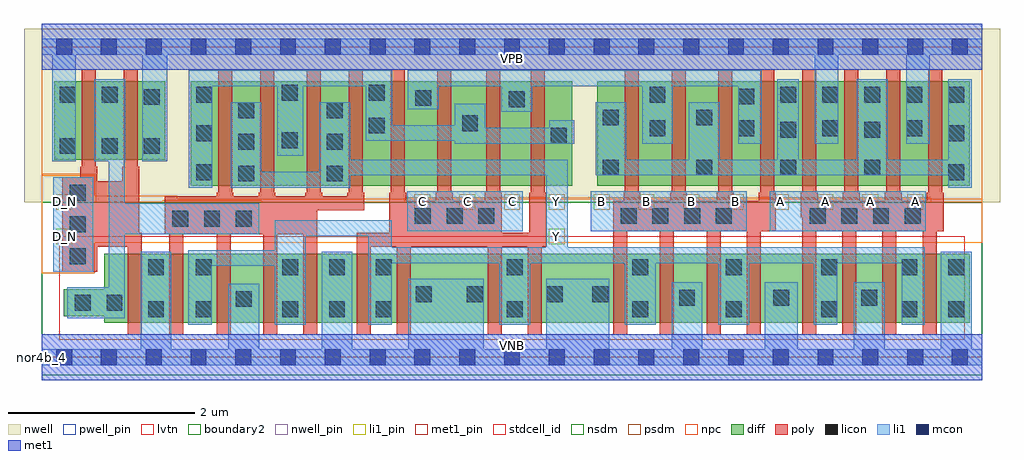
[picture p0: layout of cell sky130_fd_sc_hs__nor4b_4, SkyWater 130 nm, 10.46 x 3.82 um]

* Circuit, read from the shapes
.subckt sky130_fd_sc_hs__nor4b_4 A B C D_N VGND VNB VPB VPWR Y
XM1 VGND D_N n1 VNB sky130_fd_pr__nfet_01v8_lvt w=0.74 l=0.15
XM2 Y n1 VGND VNB sky130_fd_pr__nfet_01v8_lvt w=0.74 l=0.15 m=4
XM3 Y C VGND VNB sky130_fd_pr__nfet_01v8_lvt w=0.74 l=0.15 m=4
XM4 Y B VGND VNB sky130_fd_pr__nfet_01v8_lvt w=0.74 l=0.15 m=4
XM5 Y A VGND VNB sky130_fd_pr__nfet_01v8_lvt w=0.74 l=0.15 m=4
XM6 n1 D_N VPWR VPB sky130_fd_pr__pfet_01v8 w=0.84 l=0.15 m=2
XM7 Y n1 n2 VPB sky130_fd_pr__pfet_01v8 w=1.12 l=0.15 m=4
XM8 n3 C n2 VPB sky130_fd_pr__pfet_01v8 w=1.12 l=0.15 m=4
XM9 n3 B n4 VPB sky130_fd_pr__pfet_01v8 w=1.12 l=0.15 m=4
XM10 VPWR A n4 VPB sky130_fd_pr__pfet_01v8 w=1.12 l=0.15 m=4
.ends

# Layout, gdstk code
import gdstk
lib = gdstk.Library(unit=1e-6, precision=1e-09)
def R(c, l, rs):  # rectangles x0, y0, x1, y1
    for r in rs: c.add(gdstk.rectangle(r[:2], r[2:], *l))
def A(c, l, x, y, w, h, nx, ny, dx, dy):  # array of equal rectangles
    R(c, l, [(x+i*dx, y+j*dy, x+i*dx+w, y+j*dy+h) for i in range(nx) for j in range(ny)])
def P(c, l, *ps):  # polygons
    for p in ps: c.add(gdstk.Polygon(p, *l))
nwell_pin = (64, 16)
nwell = (64, 20)
diff = (65, 20)
poly = (66, 20)
licon = (66, 44)
li1_pin = (67, 16)
li1 = (67, 20)
mcon = (67, 44)
met1_pin = (68, 16)
met1 = (68, 20)
stdcell_id = (81, 4)
nsdm = (93, 44)
psdm = (94, 20)
npc = (95, 20)
pwell_pin = (122, 16)
lvtn = (125, 44)
boundary2 = (236, 0)

sky130_fd_sc_hs__nor4b_4 = lib.new_cell('sky130_fd_sc_hs__nor4b_4')
R(sky130_fd_sc_hs__nor4b_4, nwell_pin, [(0,3.085,10.08,3.33)])
R(sky130_fd_sc_hs__nor4b_4, nwell, [(-0.19,1.66,10.27,3.52)])
R(sky130_fd_sc_hs__nor4b_4, diff, [(1.595,1.84,5.685,2.96), (5.955,1.84,9.945,2.96), (0.135,2.12,1.325,2.96)])
P(sky130_fd_sc_hs__nor4b_4, diff, [(9.945,1.11),(0.67,1.11),(0.67,0.73),(0.235,0.73),(0.235,0.44),(0.67,0.44),(0.67,0.37),(9.945,0.37)])
P(sky130_fd_sc_hs__nor4b_4, poly, [(1.07,1.335),(1.045,1.335),(1.045,2.045),(1.03,2.045),(1.03,3.09),(0.88,3.09),(0.88,2.045),(0.865,2.045),(0.865,1.885),(0.595,1.885),(0.595,2.045),(0.58,2.045),(0.58,3.09),(0.43,3.09),(0.43,2.045),(0.415,2.045),(0.415,1.93),(0.22,1.93),(0.22,0.92),(0.595,0.92),(0.595,1.185),(0.92,1.185),(0.92,0.24),(1.07,0.24)],
  [(3.455,1.765),(3.44,1.765),(3.44,3.09),(3.29,3.09),(3.29,1.765),(3.275,1.765),(3.275,1.725),(3.005,1.725),(3.005,1.765),(2.99,1.765),(2.99,3.09),(2.84,3.09),(2.84,1.765),(2.825,1.765),(2.825,1.725),(2.505,1.725),(2.505,1.765),(2.49,1.765),(2.49,3.09),(2.34,3.09),(2.34,1.765),(2.325,1.765),(2.325,1.725),(2.055,1.725),(2.055,1.765),(2.04,1.765),(2.04,3.09),(1.89,3.09),(1.89,1.765),(1.875,1.765),(1.875,1.725),(1.32,1.725),(1.32,1.32),(1.365,1.32),(1.365,0.24),(1.515,0.24),(1.515,1.32),(1.875,1.32),(1.875,0.24),(2.025,0.24),(2.025,1.32),(2.375,1.32),(2.375,0.24),(2.525,0.24),(2.525,1.32),(2.805,1.32),(2.805,0.24),(2.955,0.24),(2.955,1.575),(3.455,1.575)],
  [(5.405,1.765),(5.39,1.765),(5.39,3.09),(5.24,3.09),(5.24,1.765),(5.225,1.765),(5.225,1.335),(4.93,1.335),(4.93,1.765),(4.915,1.765),(4.915,3.09),(4.765,3.09),(4.765,1.765),(4.75,1.765),(4.75,1.68),(4.405,1.68),(4.405,1.765),(4.39,1.765),(4.39,3.09),(4.24,3.09),(4.24,1.765),(4.225,1.765),(4.225,1.68),(3.905,1.68),(3.905,1.765),(3.89,1.765),(3.89,3.09),(3.74,3.09),(3.74,1.765),(3.725,1.765),(3.725,1.335),(3.375,1.335),(3.375,0.24),(3.525,0.24),(3.525,1.185),(3.805,1.185),(3.805,0.24),(3.955,0.24),(3.955,1.185),(4.78,1.185),(4.78,0.24),(4.93,0.24),(4.93,1.185),(5.21,1.185),(5.21,0.24),(5.36,0.24),(5.36,1.185),(5.405,1.185)],
  [(7.865,1.765),(7.85,1.765),(7.85,3.09),(7.7,3.09),(7.7,1.765),(7.685,1.765),(7.685,1.68),(7.415,1.68),(7.415,1.765),(7.4,1.765),(7.4,3.09),(7.25,3.09),(7.25,1.765),(7.235,1.765),(7.235,1.68),(6.915,1.68),(6.915,1.765),(6.9,1.765),(6.9,3.09),(6.75,3.09),(6.75,1.765),(6.735,1.765),(6.735,1.68),(6.415,1.68),(6.415,1.765),(6.4,1.765),(6.4,3.09),(6.25,3.09),(6.25,1.765),(6.235,1.765),(6.235,1.68),(6.125,1.68),(6.125,0.24),(6.275,0.24),(6.275,1.35),(6.625,1.35),(6.625,0.24),(6.775,0.24),(6.775,1.35),(7.125,1.35),(7.125,0.24),(7.275,0.24),(7.275,1.35),(7.555,1.35),(7.555,0.24),(7.705,0.24),(7.705,1.35),(7.865,1.35)],
  [(9.665,1.765),(9.65,1.765),(9.65,3.09),(9.5,3.09),(9.5,1.765),(9.485,1.765),(9.485,1.68),(9.215,1.68),(9.215,1.765),(9.2,1.765),(9.2,3.09),(9.05,3.09),(9.05,1.765),(9.035,1.765),(9.035,1.68),(8.765,1.68),(8.765,1.765),(8.75,1.765),(8.75,3.09),(8.6,3.09),(8.6,1.765),(8.585,1.765),(8.585,1.68),(8.315,1.68),(8.315,1.765),(8.3,1.765),(8.3,3.09),(8.15,3.09),(8.15,1.765),(8.135,1.765),(8.135,1.5),(8.15,1.5),(8.15,0.24),(8.3,0.24),(8.3,1.35),(8.58,1.35),(8.58,0.24),(8.73,0.24),(8.73,1.35),(9.01,1.35),(9.01,0.24),(9.16,0.24),(9.16,1.35),(9.44,1.35),(9.44,0.24),(9.59,0.24),(9.59,1.35),(9.665,1.35)])
A(sky130_fd_sc_hs__nor4b_4, licon, 2.58, 0.43, 0.17, 0.17, 3, 2, 0.5, 0.45)
A(sky130_fd_sc_hs__nor4b_4, licon, 0.3, 1, 0.17, 0.17, 1, 3, 0, 0.34)
A(sky130_fd_sc_hs__nor4b_4, licon, 1.4, 1.4, 0.17, 0.17, 3, 1, 0.34, 0)
A(sky130_fd_sc_hs__nor4b_4, licon, 4, 1.43, 0.17, 0.17, 3, 1, 0.34, 0)
A(sky130_fd_sc_hs__nor4b_4, licon, 6.205, 1.43, 0.17, 0.17, 4, 1, 0.34, 0)
A(sky130_fd_sc_hs__nor4b_4, licon, 8.23, 1.43, 0.17, 0.17, 4, 1, 0.34, 0)
A(sky130_fd_sc_hs__nor4b_4, licon, 2.105, 1.885, 0.17, 0.17, 1, 3, 0, 0.34)
A(sky130_fd_sc_hs__nor4b_4, licon, 3.055, 1.885, 0.17, 0.17, 1, 3, 0, 0.34)
A(sky130_fd_sc_hs__nor4b_4, licon, 1.655, 1.9, 0.17, 0.17, 1, 3, 0, 0.415)
A(sky130_fd_sc_hs__nor4b_4, licon, 7.015, 1.95, 0.17, 0.17, 3, 1, 0.9, 0)
A(sky130_fd_sc_hs__nor4b_4, licon, 0.195, 2.18, 0.17, 0.17, 3, 1, 0.45, 0)
A(sky130_fd_sc_hs__nor4b_4, licon, 7.465, 2.37, 0.17, 0.17, 3, 1, 0.9, 0)
A(sky130_fd_sc_hs__nor4b_4, licon, 7.915, 2.73, 0.17, 0.17, 5, 1, 0.45, 0)
R(sky130_fd_sc_hs__nor4b_4, licon, [(1.14,0.43,1.31,0.6), (1.65,0.43,1.82,0.6), (4.985,0.43,5.155,0.6), (6.33,0.43,6.5,0.6), (7.33,0.43,7.5,0.6), (8.355,0.43,8.525,0.6), (9.215,0.43,9.385,0.6), (9.715,0.43,9.885,0.6), (0.355,0.5,0.525,0.67), (0.695,0.5,0.865,0.67), (2.08,0.54,2.25,0.71), (6.83,0.555,7,0.725), (7.84,0.555,8.01,0.725), (8.785,0.555,8.955,0.725), (4.01,0.59,4.18,0.76), (4.555,0.59,4.725,0.76), (5.415,0.59,5.585,0.76), (5.9,0.59,6.07,0.76), (1.14,0.88,1.31,1.05), (1.65,0.88,1.82,1.05), (4.985,0.88,5.155,1.05), (6.33,0.88,6.5,1.05), (7.33,0.88,7.5,1.05), (8.355,0.88,8.525,1.05), (9.215,0.88,9.385,1.05), (9.715,0.88,9.885,1.05), (9.715,1.9,9.885,2.07), (6.015,1.95,6.185,2.12), (2.575,2.24,2.745,2.41), (5.455,2.29,5.625,2.46), (9.715,2.315,9.885,2.485), (7.915,2.355,8.085,2.525), (8.815,2.355,8.985,2.525), (6.515,2.37,6.685,2.54), (3.505,2.4,3.675,2.57), (4.505,2.425,4.675,2.595), (6.015,2.485,6.185,2.655), (7.015,2.485,7.185,2.655), (5.005,2.68,5.175,2.85), (4.005,2.695,4.175,2.865), (1.095,2.705,1.265,2.875), (7.465,2.71,7.635,2.88), (0.195,2.73,0.365,2.9), (0.645,2.73,0.815,2.9), (6.515,2.73,6.685,2.9), (2.575,2.75,2.745,2.92), (3.505,2.75,3.675,2.92)])
A(sky130_fd_sc_hs__nor4b_4, li1_pin, 3.995, 1.58, 0.17, 0.17, 12, 1, 0.48, 0)
R(sky130_fd_sc_hs__nor4b_4, li1_pin, [(0.155,1.21,0.325,1.38), (5.435,1.21,5.605,1.38), (0.155,1.58,0.325,1.75)])
R(sky130_fd_sc_hs__nor4b_4, li1, [(0.125,0.92,0.55,1.93), (3.92,1.35,5.155,1.78), (5.885,1.35,7.555,1.78), (7.805,1.35,9.475,1.78)])
P(sky130_fd_sc_hs__nor4b_4, li1, [(2.33,1.65),(0.89,1.65),(0.89,2.1),(0.895,2.1),(0.895,2.98),(0.565,2.98),(0.565,2.1),(0.72,2.1),(0.72,0.75),(0.275,0.75),(0.275,0.42),(0.89,0.42),(0.89,1.32),(2.33,1.32)],
  [(5.705,2.54),(5.44,2.54),(5.44,2.46),(4.755,2.46),(4.755,2.72),(4.425,2.72),(4.425,2.49),(3.755,2.49),(3.755,3.075),(1.575,3.075),(1.575,1.82),(1.825,1.82),(1.825,2.905),(2.525,2.905),(2.525,2.16),(2.805,2.16),(2.805,2.905),(3.475,2.905),(3.475,2.32),(4.425,2.32),(4.425,2.29),(5.705,2.29)],
  [(9.465,1.18),(5.635,1.18),(5.635,2.12),(3.305,2.12),(3.305,2.735),(2.975,2.735),(2.975,1.99),(2.355,1.99),(2.355,2.735),(2.025,2.735),(2.025,1.82),(3.305,1.82),(3.305,1.95),(5.405,1.95),(5.405,1.18),(3.75,1.18),(3.75,1.47),(2.5,1.47),(2.5,1.15),(1.57,1.15),(1.57,0.35),(1.82,0.35),(1.82,0.98),(2.5,0.98),(2.5,0.35),(2.83,0.35),(2.83,1.3),(3.5,1.3),(3.5,0.35),(3.75,0.35),(3.75,1.01),(4.905,1.01),(4.905,0.35),(5.235,0.35),(5.235,1.01),(6.25,1.01),(6.25,0.35),(6.58,0.35),(6.58,1.01),(7.25,1.01),(7.25,0.35),(7.58,0.35),(7.58,1.01),(8.275,1.01),(8.275,0.35),(8.525,0.35),(8.525,1.01),(9.215,1.01),(9.215,0.35),(9.465,0.35)],
  [(7.715,3.075),(3.925,3.075),(3.925,2.66),(4.255,2.66),(4.255,2.905),(4.925,2.905),(4.925,2.63),(5.255,2.63),(5.255,2.905),(6.435,2.905),(6.435,2.29),(6.765,2.29),(6.765,2.905),(7.465,2.905),(7.465,2.29),(7.715,2.29)],
  [(10.08,0.085),(9.965,0.085),(9.965,1.13),(9.635,1.13),(9.635,0.085),(9.035,0.085),(9.035,0.805),(8.705,0.805),(8.705,0.085),(8.105,0.085),(8.105,0.805),(7.75,0.805),(7.75,0.085),(7.08,0.085),(7.08,0.805),(6.75,0.805),(6.75,0.085),(6.08,0.085),(6.08,0.84),(5.405,0.84),(5.405,0.085),(4.735,0.085),(4.735,0.84),(3.93,0.84),(3.93,0.085),(3.33,0.085),(3.33,1.13),(3,1.13),(3,0.085),(2.33,0.085),(2.33,0.79),(2,0.79),(2,0.085),(1.39,0.085),(1.39,1.13),(1.06,1.13),(1.06,0.085),(0,0.085),(0,-0.085),(10.08,-0.085)],
  [(9.965,2.98),(9.715,2.98),(9.715,2.12),(9.065,2.12),(9.065,2.98),(8.735,2.98),(8.735,2.12),(8.115,2.12),(8.115,2.98),(7.885,2.98),(7.885,2.12),(7.265,2.12),(7.265,2.735),(6.935,2.735),(6.935,2.12),(6.265,2.12),(6.265,2.735),(5.935,2.735),(5.935,1.95),(9.715,1.95),(9.715,1.82),(9.965,1.82)],
  [(10.08,3.415),(0,3.415),(0,3.245),(0.115,3.245),(0.115,2.1),(0.365,2.1),(0.365,3.245),(1.075,3.245),(1.075,2.1),(1.345,2.1),(1.345,3.245),(8.285,3.245),(8.285,2.29),(8.535,2.29),(8.535,3.245),(9.265,3.245),(9.265,2.29),(9.515,2.29),(9.515,3.245),(10.08,3.245)])
A(sky130_fd_sc_hs__nor4b_4, mcon, 0.155, -0.085, 0.17, 0.17, 21, 2, 0.48, 3.33)
R(sky130_fd_sc_hs__nor4b_4, met1_pin, [(0,0,10.08,0.245), (0,3.085,10.08,3.33)])
R(sky130_fd_sc_hs__nor4b_4, met1, [(0,-0.245,10.08,0.245), (0,3.085,10.08,3.575)])
R(sky130_fd_sc_hs__nor4b_4, stdcell_id, [(0,0,10.08,3.33)])
R(sky130_fd_sc_hs__nor4b_4, nsdm, [(0,-0.19,10.08,1.66)])
P(sky130_fd_sc_hs__nor4b_4, psdm, [(10.08,3.52),(0,3.52),(0,1.96),(0.58,1.96),(0.58,1.66),(1.29,1.66),(1.29,1.68),(2.36,1.68),(2.36,1.66),(3.89,1.66),(3.89,1.71),(9.53,1.71),(9.53,1.66),(10.08,1.66)])
P(sky130_fd_sc_hs__nor4b_4, npc, [(10.08,1.7),(1.455,1.7),(1.455,1.73),(0.57,1.73),(0.57,1.95),(0,1.95),(0,0.9),(0.57,0.9),(0.57,1.23),(10.08,1.23)])
R(sky130_fd_sc_hs__nor4b_4, pwell_pin, [(0,0,10.08,0.245)])
R(sky130_fd_sc_hs__nor4b_4, lvtn, [(0.19,0.19,9.89,1.3)])
R(sky130_fd_sc_hs__nor4b_4, boundary2, [(0,0,10.08,3.33)])
sky130_fd_sc_hs__nor4b_4.add(gdstk.Label('nor4b_4', (0,0), layer=83, texttype=44))
sky130_fd_sc_hs__nor4b_4.add(gdstk.Label('VNB', (5.04,0.123), layer=64, texttype=59))
sky130_fd_sc_hs__nor4b_4.add(gdstk.Label('VPB', (5.04,3.208), layer=64, texttype=5))
sky130_fd_sc_hs__nor4b_4.add(gdstk.Label('VPWR', (5.04,3.208), layer=68, texttype=5))
sky130_fd_sc_hs__nor4b_4.add(gdstk.Label('VGND', (5.04,0.123), layer=68, texttype=5))
sky130_fd_sc_hs__nor4b_4.add(gdstk.Label('D_N', (0.24,1.295), layer=67, texttype=5))
sky130_fd_sc_hs__nor4b_4.add(gdstk.Label('D_N', (0.24,1.665), layer=67, texttype=5))
sky130_fd_sc_hs__nor4b_4.add(gdstk.Label('C', (4.08,1.665), layer=67, texttype=5))
sky130_fd_sc_hs__nor4b_4.add(gdstk.Label('C', (4.56,1.665), layer=67, texttype=5))
sky130_fd_sc_hs__nor4b_4.add(gdstk.Label('C', (5.04,1.665), layer=67, texttype=5))
sky130_fd_sc_hs__nor4b_4.add(gdstk.Label('B', (6,1.665), layer=67, texttype=5))
sky130_fd_sc_hs__nor4b_4.add(gdstk.Label('B', (6.48,1.665), layer=67, texttype=5))
sky130_fd_sc_hs__nor4b_4.add(gdstk.Label('B', (6.96,1.665), layer=67, texttype=5))
sky130_fd_sc_hs__nor4b_4.add(gdstk.Label('B', (7.44,1.665), layer=67, texttype=5))
sky130_fd_sc_hs__nor4b_4.add(gdstk.Label('A', (7.92,1.665), layer=67, texttype=5))
sky130_fd_sc_hs__nor4b_4.add(gdstk.Label('A', (8.4,1.665), layer=67, texttype=5))
sky130_fd_sc_hs__nor4b_4.add(gdstk.Label('A', (8.88,1.665), layer=67, texttype=5))
sky130_fd_sc_hs__nor4b_4.add(gdstk.Label('A', (9.36,1.665), layer=67, texttype=5))
sky130_fd_sc_hs__nor4b_4.add(gdstk.Label('Y', (5.52,1.295), layer=67, texttype=5))
sky130_fd_sc_hs__nor4b_4.add(gdstk.Label('Y', (5.52,1.665), layer=67, texttype=5))

lib.write_gds('sky130_fd_sc_hs__nor4b_4.gds')
